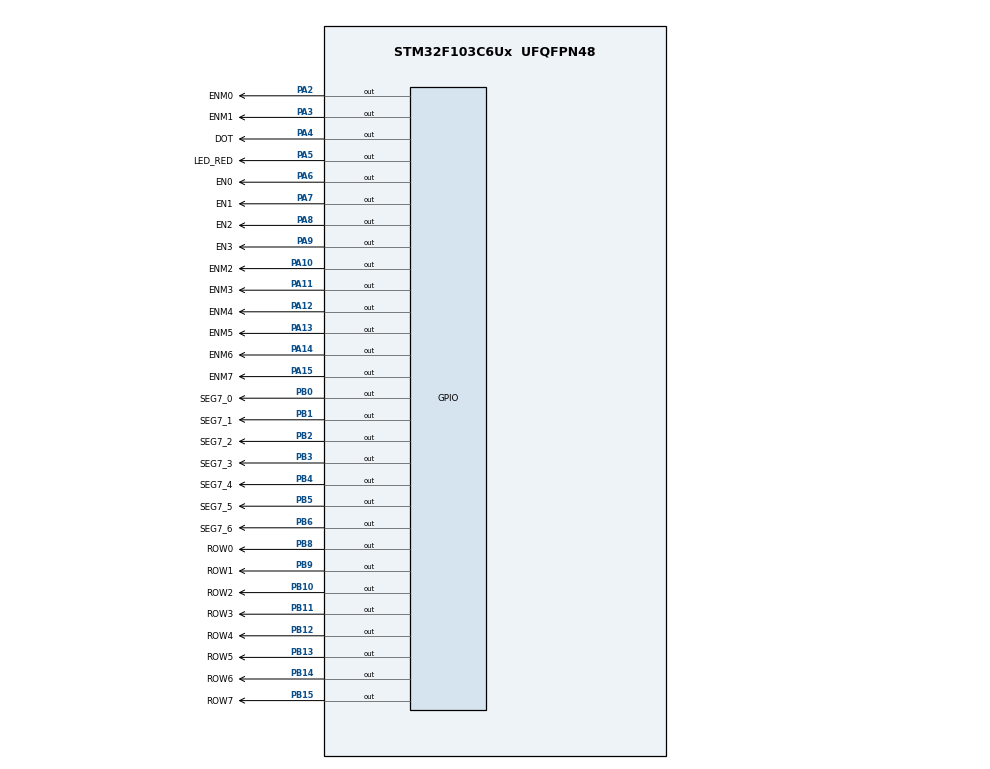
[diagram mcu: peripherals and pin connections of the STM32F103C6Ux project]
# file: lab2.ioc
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Mcu.Family=STM32F1
Mcu.Name=STM32F103C6Ux
Mcu.Package=UFQFPN48
NVIC.PriorityGroup=NVIC_PRIORITYGROUP_4
NVIC.TIM2_IRQn=true\:0\:0\:false\:false\:true\:true\:true
PA10.GPIO_Label=ENM2
PA10.Signal=GPIO_Output
PA11.GPIO_Label=ENM3
PA11.Signal=GPIO_Output
PA12.GPIO_Label=ENM4
PA12.Signal=GPIO_Output
PA13.GPIO_Label=ENM5
PA13.Signal=GPIO_Output
PA14.GPIO_Label=ENM6
PA14.Signal=GPIO_Output
PA15.GPIO_Label=ENM7
PA15.Signal=GPIO_Output
PA2.GPIO_Label=ENM0
PA2.Signal=GPIO_Output
PA3.GPIO_Label=ENM1
PA3.Signal=GPIO_Output
PA4.GPIO_Label=DOT
PA4.Signal=GPIO_Output
PA5.GPIO_Label=LED_RED
PA5.Signal=GPIO_Output
PA6.GPIO_Label=EN0
PA6.Signal=GPIO_Output
PA7.GPIO_Label=EN1
PA7.Signal=GPIO_Output
PA8.GPIO_Label=EN2
PA8.Signal=GPIO_Output
PA9.GPIO_Label=EN3
PA9.Signal=GPIO_Output
PB0.GPIO_Label=SEG7_0
PB0.Signal=GPIO_Output
PB1.GPIO_Label=SEG7_1
PB1.Signal=GPIO_Output
PB10.GPIO_Label=ROW2
PB10.Signal=GPIO_Output
PB11.GPIO_Label=ROW3
PB11.Signal=GPIO_Output
PB12.GPIO_Label=ROW4
PB12.Signal=GPIO_Output
PB13.GPIO_Label=ROW5
PB13.Signal=GPIO_Output
PB14.GPIO_Label=ROW6
PB14.Signal=GPIO_Output
PB15.GPIO_Label=ROW7
PB15.Signal=GPIO_Output
PB2.GPIO_Label=SEG7_2
PB2.Signal=GPIO_Output
PB3.GPIO_Label=SEG7_3
PB3.Signal=GPIO_Output
PB4.GPIO_Label=SEG7_4
PB4.Signal=GPIO_Output
PB5.GPIO_Label=SEG7_5
PB5.Signal=GPIO_Output
PB6.GPIO_Label=SEG7_6
PB6.Signal=GPIO_Output
PB8.GPIO_Label=ROW0
PB8.Signal=GPIO_Output
PB9.GPIO_Label=ROW1
PB9.Signal=GPIO_Output
ProjectManager.HeapSize=0x200
ProjectManager.StackSize=0x400
ProjectManager.TargetToolchain=STM32CubeIDE
RCC.APB1Freq_Value=8000000
RCC.APB2Freq_Value=8000000
TIM2.Period=9
TIM2.Prescaler=7999
VP_SYS_VS_ND.Mode=No_Debug
VP_TIM2_VS_ClockSourceINT.Mode=Internal
board=custom

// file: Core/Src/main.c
/* USER CODE BEGIN Header */
/**
  ******************************************************************************
  * @file           : main.c
  * @brief          : Main program body
  ******************************************************************************
  * @attention
  *
  * <h2><center>&copy; Copyright (c) 2023 STMicroelectronics.
  * All rights reserved.</center></h2>
  *
  * This software component is licensed by ST under BSD 3-Clause license,
  * the "License"; You may not use this file except in compliance with the
  * License. You may obtain a copy of the License at:
  *                        opensource.org/licenses/BSD-3-Clause
  *
  ******************************************************************************
  */
/* USER CODE END Header */
#include "main.h"

/* USER CODE BEGIN Includes */
#include "software_timer.h"
/* USER CODE END Includes */

TIM_HandleTypeDef htim2;

void SystemClock_Config(void);
static void MX_GPIO_Init(void);
static void MX_TIM2_Init(void);

/* USER CODE BEGIN 0 */
void display7SEG(int num) {
  switch(num) {
	  case 0 : {
		  HAL_GPIO_WritePin(SEG7_0_GPIO_Port, SEG7_0_Pin, 0);
		  HAL_GPIO_WritePin(SEG7_1_GPIO_Port, SEG7_1_Pin, 0);
		  HAL_GPIO_WritePin(SEG7_2_GPIO_Port, SEG7_2_Pin, 0);
		  HAL_GPIO_WritePin(SEG7_3_GPIO_Port, SEG7_3_Pin, 0);
		  HAL_GPIO_WritePin(SEG7_4_GPIO_Port, SEG7_4_Pin, 0);
		  HAL_GPIO_WritePin(SEG7_5_GPIO_Port, SEG7_5_Pin, 0);
		  HAL_GPIO_WritePin(SEG7_6_GPIO_Port, SEG7_6_Pin, 1);
		  break;
	  }

	  case 1 : {
		  HAL_GPIO_WritePin(SEG7_0_GPIO_Port, SEG7_0_Pin, 1);
		  HAL_GPIO_WritePin(SEG7_1_GPIO_Port, SEG7_1_Pin, 0);
		  HAL_GPIO_WritePin(SEG7_2_GPIO_Port, SEG7_2_Pin, 0);
		  HAL_GPIO_WritePin(SEG7_3_GPIO_Port, SEG7_3_Pin, 1);
		  HAL_GPIO_WritePin(SEG7_4_GPIO_Port, SEG7_4_Pin, 1);
		  HAL_GPIO_WritePin(SEG7_5_GPIO_Port, SEG7_5_Pin, 1);
		  HAL_GPIO_WritePin(SEG7_6_GPIO_Port, SEG7_6_Pin, 1);
		  break;
	  }

	  case 2 : {
		  HAL_GPIO_WritePin(SEG7_0_GPIO_Port, SEG7_0_Pin, 0);
		  HAL_GPIO_WritePin(SEG7_1_GPIO_Port, SEG7_1_Pin, 0);
		  HAL_GPIO_WritePin(SEG7_2_GPIO_Port, SEG7_2_Pin, 1);
		  HAL_GPIO_WritePin(SEG7_3_GPIO_Port, SEG7_3_Pin, 0);
		  HAL_GPIO_WritePin(SEG7_4_GPIO_Port, SEG7_4_Pin, 0);
		  HAL_GPIO_WritePin(SEG7_5_GPIO_Port, SEG7_5_Pin, 1);
		  HAL_GPIO_WritePin(SEG7_6_GPIO_Port, SEG7_6_Pin, 0);
		  break;
	  }
	  case 3 : {
		  HAL_GPIO_WritePin(SEG7_0_GPIO_Port, SEG7_0_Pin, 0);
		  HAL_GPIO_WritePin(SEG7_1_GPIO_Port, SEG7_1_Pin, 0);
		  HAL_GPIO_WritePin(SEG7_2_GPIO_Port, SEG7_2_Pin, 0);
		  HAL_GPIO_WritePin(SEG7_3_GPIO_Port, SEG7_3_Pin, 0);
		  HAL_GPIO_WritePin(SEG7_4_GPIO_Port, SEG7_4_Pin, 1);
		  HAL_GPIO_WritePin(SEG7_5_GPIO_Port, SEG7_5_Pin, 1);
		  HAL_GPIO_WritePin(SEG7_6_GPIO_Port, SEG7_6_Pin, 0);
		  break;
	  }
	  case 4 : {
		  HAL_GPIO_WritePin(SEG7_0_GPIO_Port, SEG7_0_Pin, 1);
		  HAL_GPIO_WritePin(SEG7_1_GPIO_Port, SEG7_1_Pin, 0);
		  HAL_GPIO_WritePin(SEG7_2_GPIO_Port, SEG7_2_Pin, 0);
		  HAL_GPIO_WritePin(SEG7_3_GPIO_Port, SEG7_3_Pin, 1);
		  HAL_GPIO_WritePin(SEG7_4_GPIO_Port, SEG7_4_Pin, 1);
		  HAL_GPIO_WritePin(SEG7_5_GPIO_Port, SEG7_5_Pin, 0);
		  HAL_GPIO_WritePin(SEG7_6_GPIO_Port, SEG7_6_Pin, 0);
		  break;
	  }
	  case 5 : {
		  HAL_GPIO_WritePin(SEG7_0_GPIO_Port, SEG7_0_Pin, 0);
		  HAL_GPIO_WritePin(SEG7_1_GPIO_Port, SEG7_1_Pin, 1);
		  HAL_GPIO_WritePin(SEG7_2_GPIO_Port, SEG7_2_Pin, 0);
		  HAL_GPIO_WritePin(SEG7_3_GPIO_Port, SEG7_3_Pin, 0);
		  HAL_GPIO_WritePin(SEG7_4_GPIO_Port, SEG7_4_Pin, 1);
		  HAL_GPIO_WritePin(SEG7_5_GPIO_Port, SEG7_5_Pin, 0);
		  HAL_GPIO_WritePin(SEG7_6_GPIO_Port, SEG7_6_Pin, 0);
		  break;
	  }
	  case 6 : {
		  HAL_GPIO_WritePin(SEG7_0_GPIO_Port, SEG7_0_Pin, 0);
		  HAL_GPIO_WritePin(SEG7_1_GPIO_Port, SEG7_1_Pin, 1);
		  HAL_GPIO_WritePin(SEG7_2_GPIO_Port, SEG7_2_Pin, 0);
		  HAL_GPIO_WritePin(SEG7_3_GPIO_Port, SEG7_3_Pin, 0);
		  HAL_GPIO_WritePin(SEG7_4_GPIO_Port, SEG7_4_Pin, 0);
		  HAL_GPIO_WritePin(SEG7_5_GPIO_Port, SEG7_5_Pin, 0);
		  HAL_GPIO_WritePin(SEG7_6_GPIO_Port, SEG7_6_Pin, 0);
		  break;
	  }
	  case 7 : {
		  HAL_GPIO_WritePin(SEG7_0_GPIO_Port, SEG7_0_Pin, 0);
		  HAL_GPIO_WritePin(SEG7_1_GPIO_Port, SEG7_1_Pin, 0);
		  HAL_GPIO_WritePin(SEG7_2_GPIO_Port, SEG7_2_Pin, 0);
		  HAL_GPIO_WritePin(SEG7_3_GPIO_Port, SEG7_3_Pin, 1);
		  HAL_GPIO_WritePin(SEG7_4_GPIO_Port, SEG7_4_Pin, 1);
		  HAL_GPIO_WritePin(SEG7_5_GPIO_Port, SEG7_5_Pin, 1);
		  HAL_GPIO_WritePin(SEG7_6_GPIO_Port, SEG7_6_Pin, 1);
		  break;
	  }
	  case 8 : {
		  HAL_GPIO_WritePin(SEG7_0_GPIO_Port, SEG7_0_Pin, 0);
		  HAL_GPIO_WritePin(SEG7_1_GPIO_Port, SEG7_1_Pin, 0);
		  HAL_GPIO_WritePin(SEG7_2_GPIO_Port, SEG7_2_Pin, 0);
		  HAL_GPIO_WritePin(SEG7_3_GPIO_Port, SEG7_3_Pin, 0);
		  HAL_GPIO_WritePin(SEG7_4_GPIO_Port, SEG7_4_Pin, 0);
		  HAL_GPIO_WritePin(SEG7_5_GPIO_Port, SEG7_5_Pin, 0);
		  HAL_GPIO_WritePin(SEG7_6_GPIO_Port, SEG7_6_Pin, 0);
		  break;
	  }
	  case 9 : {
		  HAL_GPIO_WritePin(SEG7_0_GPIO_Port, SEG7_0_Pin, 0);
		  HAL_GPIO_WritePin(SEG7_1_GPIO_Port, SEG7_1_Pin, 0);
		  HAL_GPIO_WritePin(SEG7_2_GPIO_Port, SEG7_2_Pin, 0);
		  HAL_GPIO_WritePin(SEG7_3_GPIO_Port, SEG7_3_Pin, 0);
		  HAL_GPIO_WritePin(SEG7_4_GPIO_Port, SEG7_4_Pin, 1);
		  HAL_GPIO_WritePin(SEG7_5_GPIO_Port, SEG7_5_Pin, 0);
		  HAL_GPIO_WritePin(SEG7_6_GPIO_Port, SEG7_6_Pin, 0);
		  break;
	  }

	  default : {
		  HAL_GPIO_WritePin(SEG7_0_GPIO_Port, SEG7_0_Pin, 1);
		  HAL_GPIO_WritePin(SEG7_1_GPIO_Port, SEG7_1_Pin, 1);
		  HAL_GPIO_WritePin(SEG7_2_GPIO_Port, SEG7_2_Pin, 1);
		  HAL_GPIO_WritePin(SEG7_3_GPIO_Port, SEG7_3_Pin, 1);
		  HAL_GPIO_WritePin(SEG7_4_GPIO_Port, SEG7_4_Pin, 1);
		  HAL_GPIO_WritePin(SEG7_5_GPIO_Port, SEG7_5_Pin, 1);
		  HAL_GPIO_WritePin(SEG7_6_GPIO_Port, SEG7_6_Pin, 1);
		  break;
	  }
  }
}

const int MAX_LED = 4;
int index_led = 0;
int led_buffer[4] = {1, 2, 3, 4};
void update7SEG(int index){
	switch(index) {
		case 0:
			HAL_GPIO_WritePin(EN0_GPIO_Port, EN0_Pin, 0);
			HAL_GPIO_WritePin(EN1_GPIO_Port, EN1_Pin, 1);
			HAL_GPIO_WritePin(EN2_GPIO_Port, EN2_Pin, 1);
			HAL_GPIO_WritePin(EN3_GPIO_Port, EN3_Pin, 1);
			display7SEG(led_buffer[0]);
			break;
		case 1:
			HAL_GPIO_WritePin(EN0_GPIO_Port, EN0_Pin, 1);
			HAL_GPIO_WritePin(EN1_GPIO_Port, EN1_Pin, 0);
			HAL_GPIO_WritePin(EN2_GPIO_Port, EN2_Pin, 1);
			HAL_GPIO_WritePin(EN3_GPIO_Port, EN3_Pin, 1);
			display7SEG(led_buffer[1]);
			break;
		case 2:
			HAL_GPIO_WritePin(EN0_GPIO_Port, EN0_Pin, 1);
			HAL_GPIO_WritePin(EN1_GPIO_Port, EN1_Pin, 1);
			HAL_GPIO_WritePin(EN2_GPIO_Port, EN2_Pin, 0);
			HAL_GPIO_WritePin(EN3_GPIO_Port, EN3_Pin, 1);
			display7SEG(led_buffer[2]);
			break;
		case 3:
			HAL_GPIO_WritePin(EN0_GPIO_Port, EN0_Pin, 1);
			HAL_GPIO_WritePin(EN1_GPIO_Port, EN1_Pin, 1);
			HAL_GPIO_WritePin(EN2_GPIO_Port, EN2_Pin, 1);
			HAL_GPIO_WritePin(EN3_GPIO_Port, EN3_Pin, 0);
			display7SEG(led_buffer[3]);
			break;
		default:
			break;
	}
}

int hour =15, minute =8, second =50;
void updateClockBuffer(){
	if (hour <10){
		led_buffer[0] =0;
		led_buffer[1]=hour;
	}
	if (hour>=10){
		led_buffer[0]=hour/10;
		led_buffer[1]=hour%10;
	}
	if (minute <10){
			led_buffer[2] =0;
			led_buffer[3]=minute;
		}
	if (minute>=10){
			led_buffer[2]=minute/10;
			led_buffer[3]=minute%10;
		}
}

const int MAX_LED_MATRIX = 8;
int index_led_matrix = 0;
uint16_t matrix_buffer[8] = {0xffff, 0x03ff, 0xedff, 0xeeff, 0xeeff, 0xedff, 0x03ff, 0xffff};
uint16_t zero[8] = {0xffff, 0xc1ff, 0x80ff, 0xbaff, 0xb6ff, 0xaeff, 0x80ff, 0xc1ff};
uint16_t one[8] = {0xffff, 0xbfff, 0xbfff, 0x80ff, 0x80ff, 0xbdff, 0xbfff, 0xffff};
uint16_t two[8] = {0xffff, 0x99ff, 0x90ff, 0xb6ff, 0xa6ff, 0x8eff, 0x9cff, 0xbdff};
uint16_t three[8] = {0xffff, 0xc9ff, 0x80ff, 0xb6ff, 0xb6ff, 0xb6ff, 0x9cff, 0xddff};
uint16_t four[8] = {0xffff, 0xafff, 0x80ff, 0x80ff, 0xacff, 0xe9ff, 0xe3ff, 0xe7ff};
uint16_t five[8] = {0xffff, 0xceff, 0x86ff, 0xb6ff, 0xb6ff, 0xb6ff, 0x90ff, 0xd0ff};
uint16_t six[8] = {0xffff, 0xcfff, 0x87ff, 0xb6ff, 0xb6ff, 0xb4ff, 0x81ff, 0xc3ff};
uint16_t seven[8] = {0xffff, 0xfcff, 0xf8ff, 0xf2ff, 0x86ff, 0x8eff, 0xfcff, 0xfcff};
uint16_t eight[8] = {0xffff, 0xc9ff, 0x80ff, 0xb6ff, 0xb6ff, 0xb6ff, 0x80ff, 0xc9ff};
uint16_t nine[8] = {0xffff, 0xe1ff, 0xc0ff, 0x96ff, 0xb6ff, 0xb6ff, 0xb0ff, 0xf9ff};
void updateLEDMatrix(int index){
      switch (index){
          case 0:
          	for (int i = 0; i < 8; i++) {
          		matrix_buffer[i] = zero[i];
          	}
              break;
          case 1:
          	for (int i = 0; i < 8; i++) {
          		matrix_buffer[i] = one[i];
          	}
              break;
          case 2:
          	for (int i = 0; i < 8; i++) {
          		matrix_buffer[i] = two[i];
          	}
              break;
          case 3:
          	for (int i = 0; i < 8; i++) {
          		matrix_buffer[i] = three[i];
          	}
              break;
          case 4:
          	for (int i = 0; i < 8; i++) {
          		matrix_buffer[i] = four[i];
          	}
              break;
          case 5:
          	for (int i = 0; i < 8; i++) {
          		matrix_buffer[i] = five[i];
          	}
              break;
          case 6:
          	for (int i = 0; i < 8; i++) {
          		matrix_buffer[i] = six[i];
          	}
              break;
          case 7:
          	for (int i = 0; i < 8; i++) {
          		matrix_buffer[i] = seven[i];
          	}
              break;
          case 8:
          	for (int i = 0; i < 8; i++) {
          		matrix_buffer[i] = eight[i];
          	}
          	break;
          case 9:
          	for (int i = 0; i < 8; i++) {
          		matrix_buffer[i] = nine[i];
          	}
          	break;
          default:
              break;
      }
}

void shift_left(uint16_t array[8]) {
	uint16_t temp = array[7];
	for (int i = 7; i > 0; i--) {
		array[i] = array[i - 1];
	}
	array[0] = temp;
}
/* USER CODE END 0 */

int main(void)
{

  /* MCU Configuration--------------------------------------------------------*/

  /* Reset of all peripherals, Initializes the Flash interface and the Systick. */
  HAL_Init();

  /* Configure the system clock */
  SystemClock_Config();

  /* Initialize all configured peripherals */
  MX_GPIO_Init();
  MX_TIM2_Init();
  /* USER CODE BEGIN 2 */
HAL_TIM_Base_Start_IT(&htim2);
  /* USER CODE END 2 */

  /* Infinite loop */
  /* USER CODE BEGIN WHILE */
int i=-1;
setTimer1(2);
setTimer2(3);
  while (1)
  {
    /* USER CODE END WHILE */
	  if (timer1_flag ==1){
		  setTimer1(1);
		  i++;
		  if (i >= MAX_LED_MATRIX) i=0;
		  GPIOA->ODR = ~0x8000>>i;
		  GPIOB->ODR = matrix_buffer[i];
	  }
	  if (timer2_flag == 1) {
			  // Scroll 'A' in the left direction
			  setTimer2(100);
			  shift_left(matrix_buffer);
	  }
  }
}

void SystemClock_Config(void)
{
  RCC_OscInitTypeDef RCC_OscInitStruct = {0};
  RCC_ClkInitTypeDef RCC_ClkInitStruct = {0};

  /** Initializes the RCC Oscillators according to the specified parameters
  * in the RCC_OscInitTypeDef structure.
  */
  RCC_OscInitStruct.OscillatorType = RCC_OSCILLATORTYPE_HSI;
  RCC_OscInitStruct.HSIState = RCC_HSI_ON;
  RCC_OscInitStruct.HSICalibrationValue = RCC_HSICALIBRATION_DEFAULT;
  RCC_OscInitStruct.PLL.PLLState = RCC_PLL_NONE;
  if (HAL_RCC_OscConfig(&RCC_OscInitStruct) != HAL_OK)
  {
    Error_Handler();
  }
  /** Initializes the CPU, AHB and APB buses clocks
  */
  RCC_ClkInitStruct.ClockType = RCC_CLOCKTYPE_HCLK|RCC_CLOCKTYPE_SYSCLK
                              |RCC_CLOCKTYPE_PCLK1|RCC_CLOCKTYPE_PCLK2;
  RCC_ClkInitStruct.SYSCLKSource = RCC_SYSCLKSOURCE_HSI;
  RCC_ClkInitStruct.AHBCLKDivider = RCC_SYSCLK_DIV1;
  RCC_ClkInitStruct.APB1CLKDivider = RCC_HCLK_DIV1;
  RCC_ClkInitStruct.APB2CLKDivider = RCC_HCLK_DIV1;

  if (HAL_RCC_ClockConfig(&RCC_ClkInitStruct, FLASH_LATENCY_0) != HAL_OK)
  {
    Error_Handler();
  }
}

static void MX_TIM2_Init(void)
{

  TIM_ClockConfigTypeDef sClockSourceConfig = {0};
  TIM_MasterConfigTypeDef sMasterConfig = {0};

  htim2.Instance = TIM2;
  htim2.Init.Prescaler = 7999;
  htim2.Init.CounterMode = TIM_COUNTERMODE_UP;
  htim2.Init.Period = 9;
  htim2.Init.ClockDivision = TIM_CLOCKDIVISION_DIV1;
  htim2.Init.AutoReloadPreload = TIM_AUTORELOAD_PRELOAD_DISABLE;
  if (HAL_TIM_Base_Init(&htim2) != HAL_OK)
  {
    Error_Handler();
  }
  sClockSourceConfig.ClockSource = TIM_CLOCKSOURCE_INTERNAL;
  if (HAL_TIM_ConfigClockSource(&htim2, &sClockSourceConfig) != HAL_OK)
  {
    Error_Handler();
  }
  sMasterConfig.MasterOutputTrigger = TIM_TRGO_RESET;
  sMasterConfig.MasterSlaveMode = TIM_MASTERSLAVEMODE_DISABLE;
  if (HAL_TIMEx_MasterConfigSynchronization(&htim2, &sMasterConfig) != HAL_OK)
  {
    Error_Handler();
  }

}

static void MX_GPIO_Init(void)
{
  GPIO_InitTypeDef GPIO_InitStruct = {0};

  /* GPIO Ports Clock Enable */
  __HAL_RCC_GPIOA_CLK_ENABLE();
  __HAL_RCC_GPIOB_CLK_ENABLE();

  /*Configure GPIO pin Output Level */
  HAL_GPIO_WritePin(GPIOA, ENM0_Pin|ENM1_Pin|DOT_Pin|LED_RED_Pin
                          |EN0_Pin|EN1_Pin|EN2_Pin|EN3_Pin
                          |ENM2_Pin|ENM3_Pin|ENM4_Pin|ENM5_Pin
                          |ENM6_Pin|ENM7_Pin, GPIO_PIN_RESET);

  /*Configure GPIO pin Output Level */
  HAL_GPIO_WritePin(GPIOB, SEG7_0_Pin|SEG7_1_Pin|SEG7_2_Pin|ROW2_Pin
                          |ROW3_Pin|ROW4_Pin|ROW5_Pin|ROW6_Pin
                          |ROW7_Pin|SEG7_3_Pin|SEG7_4_Pin|SEG7_5_Pin
                          |SEG7_6_Pin|ROW0_Pin|ROW1_Pin, GPIO_PIN_RESET);

  /*Configure GPIO pins : ENM0_Pin ENM1_Pin DOT_Pin LED_RED_Pin
                           EN0_Pin EN1_Pin EN2_Pin EN3_Pin
                           ENM2_Pin ENM3_Pin ENM4_Pin ENM5_Pin
                           ENM6_Pin ENM7_Pin */
  GPIO_InitStruct.Pin = ENM0_Pin|ENM1_Pin|DOT_Pin|LED_RED_Pin
                          |EN0_Pin|EN1_Pin|EN2_Pin|EN3_Pin
                          |ENM2_Pin|ENM3_Pin|ENM4_Pin|ENM5_Pin
                          |ENM6_Pin|ENM7_Pin;
  GPIO_InitStruct.Mode = GPIO_MODE_OUTPUT_PP;
  GPIO_InitStruct.Pull = GPIO_NOPULL;
  GPIO_InitStruct.Speed = GPIO_SPEED_FREQ_LOW;
  HAL_GPIO_Init(GPIOA, &GPIO_InitStruct);

  /*Configure GPIO pins : SEG7_0_Pin SEG7_1_Pin SEG7_2_Pin ROW2_Pin
                           ROW3_Pin ROW4_Pin ROW5_Pin ROW6_Pin
                           ROW7_Pin SEG7_3_Pin SEG7_4_Pin SEG7_5_Pin
                           SEG7_6_Pin ROW0_Pin ROW1_Pin */
  GPIO_InitStruct.Pin = SEG7_0_Pin|SEG7_1_Pin|SEG7_2_Pin|ROW2_Pin
                          |ROW3_Pin|ROW4_Pin|ROW5_Pin|ROW6_Pin
                          |ROW7_Pin|SEG7_3_Pin|SEG7_4_Pin|SEG7_5_Pin
                          |SEG7_6_Pin|ROW0_Pin|ROW1_Pin;
  GPIO_InitStruct.Mode = GPIO_MODE_OUTPUT_PP;
  GPIO_InitStruct.Pull = GPIO_NOPULL;
  GPIO_InitStruct.Speed = GPIO_SPEED_FREQ_LOW;
  HAL_GPIO_Init(GPIOB, &GPIO_InitStruct);

}

/* USER CODE BEGIN 4 */

void HAL_TIM_PeriodElapsedCallback ( TIM_HandleTypeDef * htim )
{
	timerRun();
}
/* USER CODE END 4 */

void Error_Handler(void)
{
  __disable_irq();
  while (1)
  {
  }
}

/************************ (C) COPYRIGHT STMicroelectronics *****END OF FILE****/
